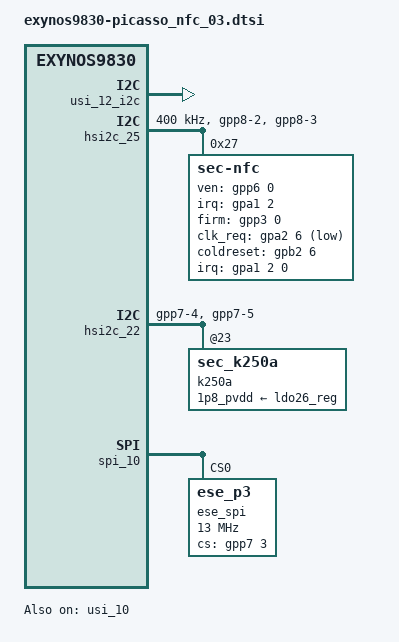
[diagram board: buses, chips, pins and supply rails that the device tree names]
/* Copyright (c) 2013, Samsung Electronics Corporation. All rights reserved.
 *
 * This program is free software; you can redistribute it and/or modify
 * it under the terms of the GNU General Public License version 2 and
 * only version 2 as published by the Free Software Foundation.
 *
 * This program is distributed in the hope that it will be useful,
 * but WITHOUT ANY WARRANTY; without even the implied warranty of
 * MERCHANTABILITY or FITNESS FOR A PARTICULAR PURPOSE.  See the
 * GNU General Public License for more details.
 */

&usi_12_i2c {
	usi_v2_mode = "i2c";
	status = "okay";
};

&pinctrl_4 {	/*10430000*/
	nfc_firm: nfc_firm {
		samsung,pins = "gpp3-0";
		samsung,pin-function = <1>;
		samsung,pin-pud = <0>;
		samsung,pin-val = <0>;
		samsung,pin-con-pdn = <3>;
		samsung,pin-pud-pdn = <0>;
	};
};

&pinctrl_5 {	/*10730000*/
	nfc_pd: nfc_pd {
		samsung,pins = "gpp6-0";
		samsung,pin-function = <1>;
		samsung,pin-pud = <0>;
		samsung,pin-val = <1>;
		samsung,pin-con-pdn = <3>;
		samsung,pin-pud-pdn = <0>;
	};

	/* PERIC1 USI12_I2C */
	hsi2c25_nfc: hsi2c25-nfc {
		samsung,pins = "gpp8-2", "gpp8-3";
		samsung,pin-function = <3>;
		samsung,pin-pud = <0>;
		samsung,pin-drv = <0>;
		samsung,pin-con-pdn = <2>;
		samsung,pin-pud-pdn = <0>;
	};

	/* peric1 usi11 */
	hsi2c22_nvm: hsi2c22-nvm {
		samsung,pins = "gpp7-4", "gpp7-5";
		samsung,pin-function = <2>;
		samsung,pin-pud = <0>;
		samsung,pin-drv = <0>;
		samsung,pin-con-pdn = <2>;
		samsung,pin-pud-pdn = <0>;
	};
};

&pinctrl_1 {	/*15C30000*/
	nfc_secure: nfc_secure {
		samsung,pins = "gpm8-0";
		samsung,pin-function = <1>;
		samsung,pin-pud = <0>;
		samsung,pin-val = <0>;
	};
};

/* PERIC1 USI12_I2C */
&hsi2c_25 {
	status = "okay";
	clock-frequency = <400000>;

	pinctrl-names = "default";
	pinctrl-0 = <&hsi2c25_nfc>;

	sec-nfc@27 {
		compatible = "sec-nfc";
		reg = <0x27>;

		interrupts = <2 0 0>;
		interrupt-parent = <&gpa1>;

		sec-nfc,ven-gpio = <&gpp6 0 0>;
		sec-nfc,irq-gpio = <&gpa1 2 0>;
		sec-nfc,firm-gpio = <&gpp3 0 0>;
		sec-nfc,clk_req-gpio = <&gpa2 6 0xf>;
		sec-nfc,nfc_pvdd = "VDD_NFC_1P8";
		sec-nfc,coldreset-gpio = <&gpb2 6 0>;

		clocks = <&clock OSC_NFC>;
		clock-names = "oscclk_nfc";
		sec-nfc,nfc_ap_clk;
		sec-nfc,ldo_control;

		pinctrl-names = "default";
		pinctrl-0 = <&nfc_pd &nfc_firm &nfc_secure>;
	};
};

&hsi2c_22 {
 	status = "okay";
 	pinctrl-names = "default";
	pinctrl-0 = <&hsi2c22_nvm>;

	k250a@23 {
		status = "ok";
		compatible = "sec_k250a";
		1p8_pvdd-supply = <&ldo26_reg>;
		/*reg = <0x23>;*/
	};
};

&pinctrl_5 {
	spi10_bus_suspend: spi10-bus-suspend {
		samsung,pins = "gpp7-2", "gpp7-1", "gpp7-0";
		samsung,pin-function = <0>;	/* INPUT */
		samsung,pin-pud = <0>;		/* NONE */
		samsung,pin-drv = <0>;
		samsung,pin-val = <0>;
		samsung,pin-con-pdn = <2>;
		samsung,pin-pud-pdn = <0>;
	};
	spi10_cs_suspend: spi10-cs-suspend {
		samsung,pins = "gpp7-3";
		samsung,pin-function = <1>;	/* OUTPUT */
		samsung,pin-pud = <0>;		/* NONE */
		samsung,pin-drv = <0>;
		samsung,pin-val = <1>;
		samsung,pin-con-pdn = <1>;	/*OUT1*/
		samsung,pin-pud-pdn = <0>;
	};
};

&usi_10 {
	usi_v2_mode = "spi";
	status = "okay";
};

/* SPI USI_PERIC1_USI10_SPI */
&spi_10 {
	status = "okay";
	/delete-property/ pinctrl-names;
	/delete-property/ pinctrl-0;
	pinctrl-names = "ese_active", "ese_suspend";
	pinctrl-0 = <&spi10_bus &spi10_cs>;
	pinctrl-1 = <&spi10_bus_suspend &spi10_cs_suspend>;

	ese_spi@0 {
		compatible = "ese_p3";
		reg = <0>;
		spi-max-frequency = <13000000>;
		gpio-controller;
		#gpio-cells = <2>;

		p3-vdd-1p8= "ALWAYS";

		clocks = <&clock GATE_PERIC1_TOP1_QCH_USI10_USI>, <&clock DOUT_CLK_PERIC1_USI10_USI>;
		clock-names = "pclk", "sclk";
		ese_p3,cs-gpio = <&gpp7 3 0>;

		controller-data {
			samsung,spi-feedback-delay = <0>;
			samsung,spi-chip-select-mode = <0>;
		};
	};
};
